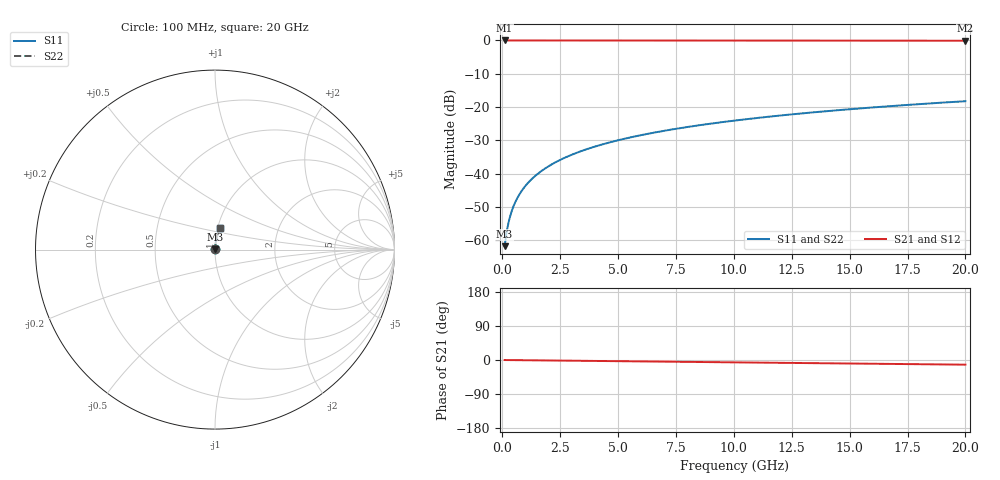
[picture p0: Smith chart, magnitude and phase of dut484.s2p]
! Touchstone file exported from HFSS 2026.1.0
!  File:  C:/ffzhzh/LocalFiles/Ansys_Project_Files/temp_train_TSV_484_1783022651_55676.aedt
!  Generated:  04:06:32 AM Jul  3, 2026
!  Design:  TSV
!  Project:  temp_train_TSV_484_1783022651_55676
! Variables:
!  h_bsmrdl = 2um
!  h_ox = 20um
!  h_rdl = 5um
!  h_sub = 97.67um
!  h_tmrdl = 5um
!  h_tsv = 97.67um
!  h_via = 3um
!  l_bsmrdl = 300um
!  l_sub = 410.04um
!  l_tmrdl = 200um
!  m_sub = 200um
!  pitch = 57.29um
!  r_tsv = 5.02um
!  s_tmrdl = 10um
!  w_bsmrdl = 18um
!  w_sub = 500um
!  w_tmrdl = 12um
!  x_tsv_center1 = 206um
!  x_tsv_center2 = 524um
!  x_tsv_center3 = 736um
!  x_tsv_center4 = 1054um
!  x_tsv_center5 = 1266um
!  x_tsv_center6 = 1584um
# GHz S MA R 50.000000
! Terminal data exported
! Port[1] = TSV1_1_T1
! Port[2] = TSV1_1_T2
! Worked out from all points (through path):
!   200 points, 100 MHz to 20 GHz, reference 50 ohm
!   highest |S21| = 0.00 dB at 100 MHz (marker M1); lowest = -0.1 dB at 20 GHz (marker M2)
!   group delay of S21, straight-line fit = 1.71 ps
!   lowest |S11| = -61.8 dB at 100 MHz (marker M3), VSWR 1.00, Z = 50 + j0.0667 ohm
!   |S11| at or under -10 dB: start of sweep to end of sweep
!   |S22| runs from -61.8 to -18.2 dB; largest |S21 - S12| = 3.6e-15
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0.1  0.0008165 54.7  0.9995 -0.1  0.9995 -0.1  0.0008165 54.7
! Gamma 0 0 0 0
! Port Impedance 50 0 50 0
0.2  0.001416 70.1  0.9995 -0.1  0.9995 -0.1  0.001416 70.1
0.3  0.002054 75.9  0.9995 -0.2  0.9995 -0.2  0.002054 75.9
0.4  0.002701 78.9  0.9995 -0.3  0.9995 -0.3  0.002701 78.9
0.5  0.003349 80.6  0.9995 -0.3  0.9995 -0.3  0.003349 80.6
0.7  0.004641 82.6  0.9994 -0.4  0.9994 -0.4  0.004641 82.6
0.8  0.005285 83.2  0.9994 -0.5  0.9994 -0.5  0.005285 83.2
1  0.006568 84.0  0.9994 -0.6  0.9994 -0.6  0.006568 84.0
1.2  0.007846 84.5  0.9993 -0.8  0.9993 -0.8  0.007846 84.5
1.4  0.009122 84.8  0.9993 -0.9  0.9993 -0.9  0.009122 84.8
1.7  0.01103 85.1  0.9992 -1.1  0.9992 -1.1  0.01103 85.1
2  0.01294 85.3  0.9991 -1.3  0.9991 -1.3  0.01294 85.3
2.7  0.01737 85.3  0.9989 -1.7  0.9989 -1.7  0.01737 85.3
3.5  0.0224 85.2  0.9987 -2.2  0.9987 -2.2  0.0224 85.2
4.2  0.02677 84.9  0.9985 -2.6  0.9985 -2.6  0.02677 84.9
5  0.03175 84.6  0.9982 -3.1  0.9982 -3.1  0.03175 84.6
6.8  0.04287 83.8  0.9976 -4.2  0.9976 -4.2  0.04287 83.8
8.3  0.05208 83.0  0.997 -5.2  0.997 -5.2  0.05208 83.0
10.1  0.06309 82.1  0.9962 -6.3  0.9962 -6.3  0.06309 82.1
13.4  0.08312 80.3  0.9945 -8.3  0.9945 -8.3  0.08312 80.3
16.7  0.1029 78.4  0.9924 -10.3  0.9924 -10.3  0.1029 78.4
20  0.1224 76.5  0.99 -12.3  0.99 -12.3  0.1224 76.5
